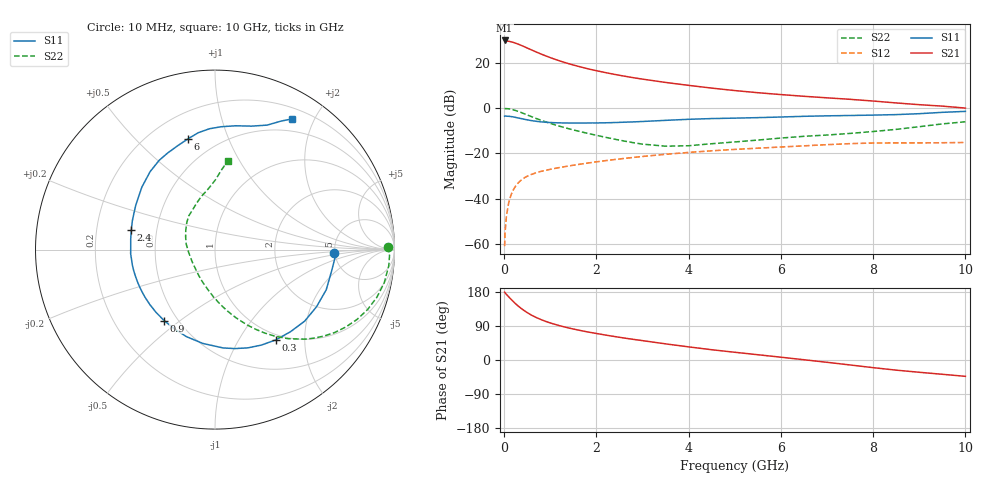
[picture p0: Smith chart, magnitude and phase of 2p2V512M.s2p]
! (c) 2009  Infineon Technologies AG, Munich
! Infineon Technologies  Discrete & RF Semiconductors
! BFP420
! VCE =  2.5 V,  IC =  12 mA
! Common Emitter S-Parameters:  Nov 2009
# GHz  S  MA  R  50
!  f  S11  S21  S12  S22
! GHz  MAG  ANG  MAG  ANG  MAG  ANG  MAG  ANG
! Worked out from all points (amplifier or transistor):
!   46 points, 10 MHz to 10 GHz, reference 50 ohm
!   highest |S21| = 29.8 dB at 10 MHz (marker M1)
!   |S21| within 3 dB of that: start of sweep to 463.5 MHz
!   unconditionally stable (mu >= 1): 2.2 GHz to end of sweep
!   at 300 MHz: K = 0.22, MSG = 30.7 dB, |S12| = -33.1 dB
!   at 1.7 GHz: K = 0.87, MSG = 21.3 dB, |S12| = -24.6 dB
!   at 10 GHz: K = 1.08, MAG = 5.8 dB, |S12| = -15.2 dB
!   lowest NFmin = 0.95 dB at 900 MHz
!   S11 on the Smith chart (normalised r, x): 10 MHz: 4.89, -0.34; 300 MHz: 0.92, -1.46; 900 MHz: 0.42, -0.44; 2.4 GHz: 0.36, +0.10; 6 GHz: 0.35, +0.72; 10 GHz: 0.33, +1.70
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0.01  0.6617 -1.7  30.97 179.0  0.0009 72.6  0.9658 1.0
0.02  0.6698 -4.0  30.17 177.2  0.0018 85.4  0.973 -2.0
0.1  0.659 -19.8  29.72 166.5  0.0083 81.6  0.961 -11.0
0.15  0.6492 -29.4  28.98 160.1  0.0122 77.1  0.9403 -16.4
0.25  0.6213 -47.5  26.9 148.2  0.0191 69.7  0.8818 -26.2
0.3  0.6065 -56.0  25.81 142.9  0.0221 66.4  0.847 -30.6
0.4  0.5771 -71.6  23.42 133.3  0.0272 61.0  0.7752 -38.4
0.45  0.5623 -78.7  22.24 129.1  0.0294 58.8  0.7401 -41.8
0.6  0.5272 -97.4  19.01 117.9  0.0347 53.7  0.6427 -50.6
0.7  0.5103 -108.2  17.16 111.9  0.0376 51.3  0.5871 -55.3
0.9  0.4865 -125.7  14.16 101.9  0.0424 48.3  0.4967 -63.1
1.2  0.4716 -146.0  11.02 90.6  0.0488 45.9  0.3982 -72.8
1.4  0.4681 -156.6  9.521 84.5  0.0528 44.9  0.3502 -78.4
1.7  0.4684 -169.7  7.872 76.7  0.0589 43.7  0.294 -86.4
2.4  0.4793 166.6  5.514 61.8  0.0734 40.3  0.2055 -106.4
3.5  0.5357 139.6  3.673 42.6  0.0955 33.2  0.1442 -152.0
4.5  0.5867 122.0  2.756 27.1  0.1141 25.4  0.1635 169.0
5.5  0.6151 109.7  2.181 13.9  0.1304 17.7  0.1969 145.7
6  0.6352 103.7  1.983 7.4  0.1384 13.9  0.218 136.1
7  0.6739 92.7  1.682 -6.1  0.1559 5.2  0.2542 119.5
8.5  0.7174 73.5  1.297 -26.8  0.1702 -11.0  0.3389 96.6
10  0.8453 59.5  1 -43.1  0.174 -21.6  0.499 81.8
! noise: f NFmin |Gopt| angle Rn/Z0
0.9  0.95  0.03  -151  0.13
1.8  1.27  0.13  -152  0.12
2.4  1.38  0.13  -160  0.14
3  1.43  0.22  -145  0.13
4  1.58  0.35  -123  0.17
5  2.03  0.43  -103  0.28
6  2.4  0.47  -91  0.43
